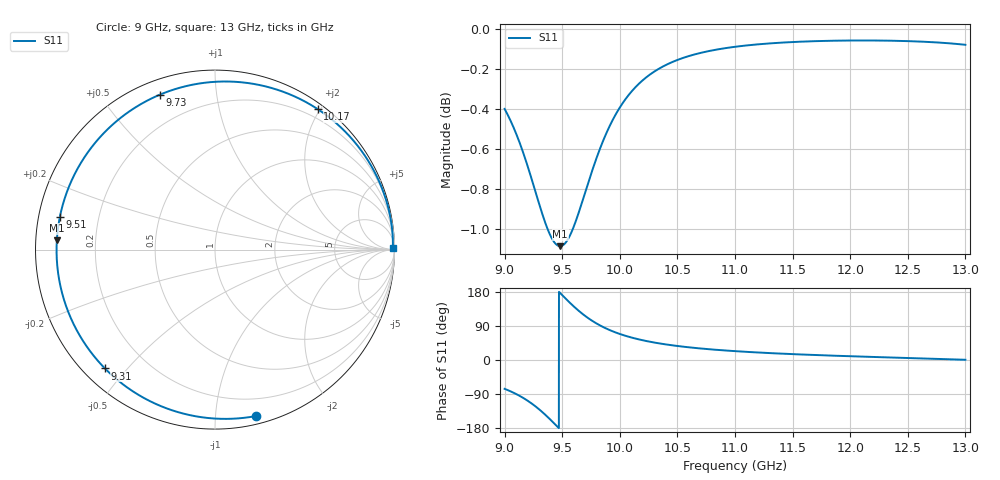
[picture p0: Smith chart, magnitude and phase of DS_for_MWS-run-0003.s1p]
! TOUCHSTONE file generated by CST DESIGN STUDIO
! Date and time: Wed Feb  5 13:38:13 2025
! Project name: C:\Work\MatlabApps\UnitCellOptimizationMatlab\CST\unitcell.cst
! Tree item: Tasks\Sweep1\SPara1\S-Parameters
! Header version: 2024
! Port assignment regex: !\s*Touchstone port\s*([0-9]+)\s*=\s*(CST MWS port|CST DES external port|CST DES block port)\s*(.+)\s* \(\"(.*)\"\)(\s*mode\s*([0-9]+))?.*
! Touchstone port assignment:
! Touchstone port 1 = CST DES external port 1 ("")
# GHz S MA R 50
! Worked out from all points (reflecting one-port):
!   4001 points, 9 GHz to 13 GHz, reference 50 ohm
!   lowest |S11| = -1.1 dB at 9.482 GHz (marker M1), VSWR 16.05, Z = 3.12 + j1.43 ohm
!   phase of S11 starts at -76 deg and turns -283 deg over the sweep
!   S11 on the Smith chart (normalised r, x): 9 GHz: 0.06, -1.28; 9.31 GHz: 0.06, -0.44; 9.51 GHz: 0.06, +0.10; 9.73 GHz: 0.07, +0.70; 10.17 GHz: 0.08, +1.97; 13 GHz: open
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9  0.9552 -76.1
9.078  0.945 -86.4
9.176  0.9288 -102.8
9.245  0.9154 -117.0
9.31  0.9024 -132.8
9.355  0.8943 -145.0
9.403  0.8875 -159.0
9.443  0.8839 -171.2
9.482  0.8827 176.7
9.5  0.883 171.1
9.51  0.8833 168.0
9.563  0.8876 152.0
9.623  0.8963 135.2
9.675  0.9057 121.9
9.73  0.9162 109.5
9.784  0.9261 98.9
9.844  0.9361 88.7
9.921  0.947 77.8
10  0.9559 68.7
10.173  0.9695 53.8
10.322  0.9768 44.9
10.5  0.9824 37.0
10.722  0.9867 29.8
11  0.9899 23.4
11.5  0.9926 15.5
12  0.9934 9.9
12.5  0.9931 5.3
13  0.991 0.6
